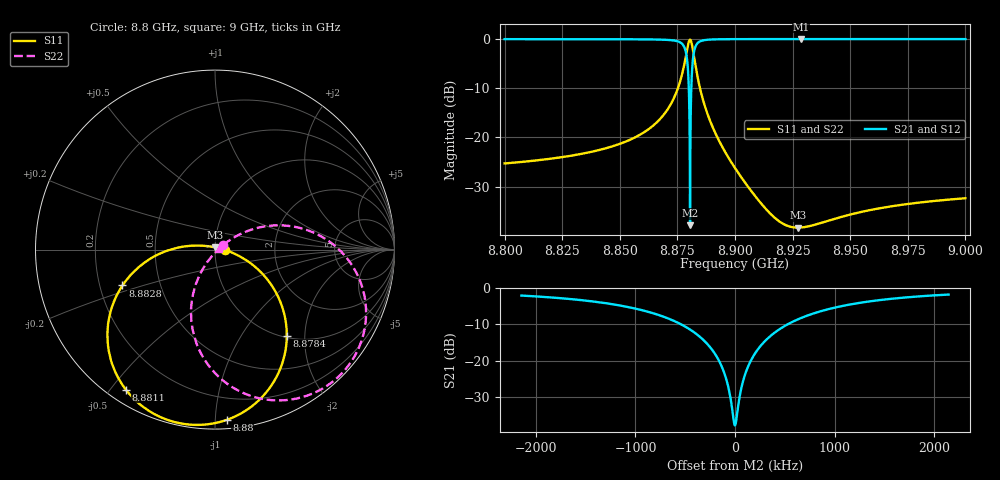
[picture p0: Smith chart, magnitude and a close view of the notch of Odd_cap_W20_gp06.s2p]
! Sonnet Data File
! From: emgraph Version : 16.52
! From Project: Resonator2_cp
! Data is De-embedded
! Data File Written: 10/07/2017 00:08:07
!< HDATE 10/06/2017 20:18:08
!< MDATE 10/06/2017 20:18:08
!< PARAMS
!< gap = 6.0
!< Length = 400.0
!< Pwid1 = 2000.0
!< Pwid2 = 2000.0
!< Air_gap = 12.0
!< Width = 20.0
!< END PARAMS
# GHZ S MA R 40.13000
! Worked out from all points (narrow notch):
!   1596 points, 8.8 GHz to 9 GHz, reference 40.13 ohm
!   highest |S21| = 0.00 dB at 8.9286 GHz (marker M1); lowest = -37.8 dB at 8.8805 GHz (marker M2)
!   notch at M2: 37.8 dB deep, 363 kHz wide at half that depth
!   lowest |S11| = -38.3 dB at 8.9272 GHz (marker M3), VSWR 1.02, Z = 40.3 + j0.955 ohm
!   |S11| at or under -10 dB: start of sweep to 8.8752 GHz; 8.8848 GHz to end of sweep
!   |S22| runs from -38.3 to -0.1 dB; largest |S21 - S12| = 0
!   S11 on the Smith chart (normalised r, x): 8.8 GHz: 1.12, -0.00; 8.8784 GHz: 1.04, -1.63; 8.88 GHz: 0.05, -1.07; 8.8811 GHz: 0.05, -0.55; 8.8828 GHz: 0.30, -0.17; 9 GHz: 1.05, +0.01
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8.8  0.0544 -1.4  0.9985 -75.7  0.9985 -75.7  0.0544 29.9
!< P1 F=8.8 Eeff=(5.24625567 -2.3027e-5) Z0=(40.1432274 8.93341e-5) R=0.0 C=0.0
!< P2 F=8.8 Eeff=(5.24625567 -2.3027e-5) Z0=(40.1432274 8.93341e-5) R=0.0 C=0.0
8.8334  0.06811 -5.1  0.9977 -76.8  0.9977 -76.8  0.06811 31.4
8.8668  0.1481 -15.7  0.9888 -81.8  0.9888 -81.8  0.1482 32.0
8.875379  0.3245 -28.9  0.9447 -92.3  0.9447 -92.3  0.3246 24.0
8.878439  0.6239 -50.1  0.7755 -112.0  0.7755 -112.0  0.624 5.1
8.879392  0.8197 -67.5  0.5579 -128.4  0.5579 -128.4  0.82 -11.5
8.880044  0.9512 -86.1  0.2684 -145.2  0.2684 -145.2  0.9514 -29.6
8.880324  0.9817 -95.7  0.106 -150.5  0.106 -150.5  0.982 -38.9
8.880497  0.9871 -101.9  0.01283 -68.6  0.01283 -68.6  0.9874 -45.0
8.880605  0.9847 -105.8  0.06951 2.1  0.06951 2.1  0.985 -48.8
8.8807  0.9789 -109.3  0.1282 3.6  0.1282 3.6  0.9792 -52.1
8.881084  0.925 -122.5  0.3483 -5.8  0.3483 -5.8  0.9253 -65.0
8.88182  0.7519 -142.8  0.6472 -24.6  0.6472 -24.6  0.7522 -84.7
8.882754  0.5529 -158.8  0.8279 -39.8  0.8279 -39.8  0.553 -99.8
8.8874  0.1923 175.8  0.9807 -62.4  0.9807 -62.4  0.1923 -120.2
8.9  0.0489 156.5  0.9987 -70.8  0.9987 -70.8  0.04894 -118.0
8.916  0.01622 120.3  0.9998 -73.1  0.9998 -73.1  0.01625 -86.3
8.9272  0.0121 78.1  0.9999 -73.8  0.9999 -73.8  0.01213 -45.6
8.9286  0.01214 73.3  0.9999 -73.8  0.9999 -73.8  0.01216 -41.0
8.9334  0.01272 59.5  0.9999 -74.1  0.9999 -74.1  0.01274 -27.7
8.9668  0.01976 24.3  0.9998 -75.0  0.9998 -75.0  0.01977 5.6
9  0.02409 16.1  0.9997 -75.6  0.9997 -75.6  0.02409 12.7
